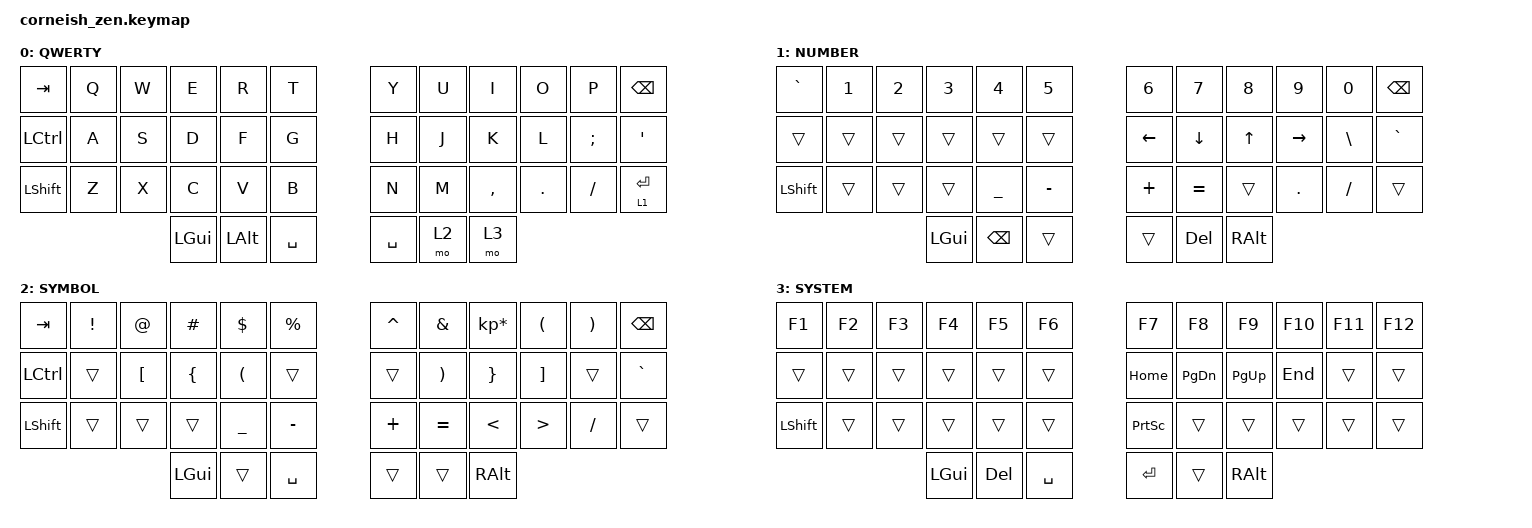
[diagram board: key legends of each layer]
#include <behaviors.dtsi>
#include <dt-bindings/zmk/keys.h>
#include <dt-bindings/zmk/bt.h>

/ {
	chosen {
		zmk,matrix_transform = &default_transform;
		//zmk,matrix_transform = &five_column_transform;
	};
};

/ {
	keymap {
		compatible = "zmk,keymap";

		default_layer {
			label = "QWERTY";
			// -----------------------------------------------------------------------------------------
			//  |  TAB |  Q  |  W  |  E  |  R  |  T  |        |  Y  |  U   |  I  |  O  |  P  | BKSP       |
			//  | CTRL |  A  |  S  |  D  |  F  |  G  |        |  H  |  J   |  K  |  L  |  ;  |  '         |
			//  | SHFT |  Z  |  X  |  C  |  V  |  B  |        |  N  |  M   |  ,  |  .  |  /  | LAY1(ENT)  |
			//                     | GUI | ALT | SPC |        | SPC | LAY2 | LAY3 |
			bindings = <
				&kp TAB   &kp Q     &kp W     &kp E     &kp R     &kp T         &kp Y     &kp U     &kp I     &kp O     &kp P     &kp BSPC
				&kp LCTRL &kp A     &kp S     &kp D     &kp F     &kp G         &kp H     &kp J     &kp K     &kp L     &kp SEMI  &kp SQT
				&kp LSHFT &kp Z     &kp X     &kp C     &kp V     &kp B         &kp N     &kp M     &kp COMMA &kp DOT   &kp FSLH  &lt 1 RET
				                            &kp LGUI &kp LALT &kp SPACE         &kp SPACE &mo 2     &mo 3
				>;
		};

		lower_layer {
			label = "NUMBER";
			// -----------------------------------------------------------------------------------------
			//                          |  `   |  1  |  2  |  3  |  4   |  5  |        |  6  |  7  |  8  |  9  |  0  | BKSP |
			//                          |      |     |     |     |      |     |        | LFT | DWN |  UP | RGT |  \  |  `   |
			//                          | SHFT |     |     |     |  _   |  -  |        |  +  |  =  |     |  .  |  /  |      |
			//                                             | GUI | BKSP | SPC |        |     | DEL | ALT |
			bindings = <
				&kp GRAVE  &kp N1    &kp N2     &kp N3      &kp N4     &kp N5           &kp N6     &kp N7     &kp N8    &kp N9     &kp N0    &kp BSPC
				&trans     &trans    &trans     &trans      &trans     &trans           &kp LEFT   &kp DOWN   &kp UP    &kp RIGHT  &kp BSLH  &kp GRAVE
				&kp LSHFT  &trans    &trans     &trans      &kp UNDER  &kp MINUS        &kp PLUS   &kp EQUAL  &trans    &kp DOT    &kp FSLH  &trans
				                                &kp LGUI    &kp BSPC   &trans           &trans     &kp DEL    &kp RALT
				>;
		};

		raise_layer {
			label = "SYMBOL";
			// -----------------------------------------------------------------------------------------
			//                        |  TAB |   !   |  @  |  #  |  $  |  %  |         |  ^  |  &  |  *  |  (  |  )  | BKSP |
			//                        | CTRL |       |  [  |  {  |  (  |     |         |     |  )  |  }  |  ]  |     |  `   |
			//                        | SHFT |       |     |     |  _  |  -  |         |  +  |  =  |  <  |  >  |  /  |      |
			//                                             | GUI |     | SPC |         |     |     | ALT |
			bindings = <
				&kp  TAB    &kp EXCL   &kp AT   &kp HASH   &kp DLLR   &kp PRCNT         &kp CARET   &kp AMPS    &kp KP_MULTIPLY  &kp LPAR  &kp RPAR  &kp BSPC
				&kp LCTRL   &trans     &kp LBKT &kp LBRC   &kp LPAR   &trans            &trans      &kp RPAR    &kp RBRC         &kp RBKT  &trans    &kp GRAVE
				&kp LSHFT   &trans     &trans   &trans     &kp UNDER  &kp MINUS         &kp PLUS    &kp EQUAL   &kp LT           &kp GT    &kp FSLH  &trans
				                                &kp LGUI   &trans     &kp SPACE         &trans      &trans      &kp RALT
				>;
		};

		sys_layer {
			label = "SYSTEM";
			// -----------------------------------------------------------------------------------------
			//                       |   F1 |  F2 |  F3 |  F4 |   F5 |  F6 |        |  F7   |  F8   |  F9   |  F10  |  F11  | F12 |
			//                       |      |     |     |     |      |     |        |  HOME | PG_DN | PG_UP |  END  |       |     |
			//                       | SHFT |     |     |     |      |     |        | PSCRN |       |       |       |       |     |
			//                                          | GUI |  DEL | SPC |        |  ENT  |       | ALT   |
			bindings = <
				&kp F1     &kp F2      &kp F3     &kp F4    &kp F5    &kp F6            &kp F7     &kp F8     &kp F9    &kp F10   &kp F11  &kp F12
				&trans     &trans      &trans     &trans    &trans    &trans            &kp HOME   &kp PG_DN  &kp PG_UP &kp END   &trans   &trans
				&kp LSHFT  &trans      &trans     &trans    &trans    &trans            &kp PSCRN  &trans     &trans    &trans    &trans   &trans
				                              &kp LGUI   &kp DEL   &kp SPACE            &kp RET    &trans    &kp RALT
				>;
		};

	};
};

/ {
	combos {
		compatible = "zmk,combos";

		// Combo key positions
		// 0  1  2  3  4  5         6  7  8  9  10 11
		// 12 13 14 15 16 17        18 19 20 21 22 23
		// 24 25 26 27 28 29        30 31 32 33 34 35
		//            36 37 38    39 40 41

		combo_esc_fj {
			timeout-ms = <50>;
			key-positions = <16 19>; // f and j
			bindings = <&kp ESC>;
		};

		combo_esc_topleft {
			timeout-ms = <50>;
			key-positions = <0 1>; // top left key's (probably tab and q)
			bindings = <&kp ESC>;
		};

		combo_bt_clr {
				timeout-ms = <50>;
				key-positions = <41 0>; // rightmost right thumb + (tab)
				bindings = <&bt BT_CLR>;
		};

		combo_bt_sel_0 {
			timeout-ms = <50>;
			key-positions = <41 6>; // rightmost right thumb + (y)
			bindings = <&bt BT_SEL 0>;
		};

		combo_bt_sel_1 {
			timeout-ms = <50>;
			key-positions = <41 7>; // rightmost right thumb + (u)
			bindings = <&bt BT_SEL 1>;
		};

		combo_bt_sel_2 {
			timeout-ms = <50>;
			key-positions = <41 8>; // rightmost right thumb + (i)
			bindings = <&bt BT_SEL 2>;
		};

		combo_bt_sel_3 {
			timeout-ms = <50>;
			key-positions = <41 9>; // rightmost right thumb + (o)
			bindings = <&bt BT_SEL 3>;
		};

		combo_bt_sel_4 {
			timeout-ms = <50>;
			key-positions = <41 10>; // rightmost right thumb + (p)
			bindings = <&bt BT_SEL 4>;
		};
	};
};
